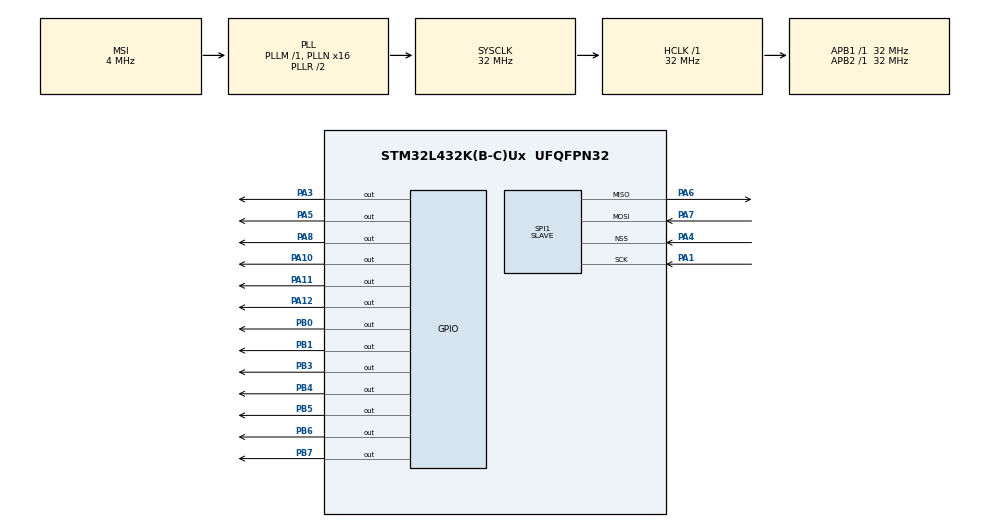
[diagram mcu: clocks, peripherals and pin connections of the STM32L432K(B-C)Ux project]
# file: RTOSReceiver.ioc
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FREERTOS.Mutexes01=spiMutex,Static,spiMutexControlBlock,Available;decryptLock,Static,decryptLockControlBlock,Available
FREERTOS.Queues01=decryptOutput,4,uint16_t,0,Static,decryptOutputBuffer,decryptOutputControlBlock;spiOutput,8,uint32_t,0,Static,spiOutputBuffer,spiOutputControlBlock
FREERTOS.Tasks01=defaultTask,24,128,StartDefaultTask,Default,NULL,Dynamic,NULL,NULL;matrixDriver,48,128,startMatrixDriver,Default,NULL,Static,matrixDriverBuffer,matrixDriverControlBlock;spiTask,24,256,startSpi,Default,NULL,Static,spiTaskBuffer,spiTaskControlBlock;decrypter,24,128,StartDecrypter,Default,NULL,Static,decrypterBuffer,decrypterControlBlock
FREERTOS.configUSE_NEWLIB_REENTRANT=1
Mcu.Family=STM32L4
Mcu.Name=STM32L432K(B-C)Ux
Mcu.Package=UFQFPN32
NVIC.PriorityGroup=NVIC_PRIORITYGROUP_4
NVIC.TIM6_DAC_IRQn=true\:15\:0\:false\:false\:true\:false\:false\:true\:true
NVIC.TimeBase=TIM6_DAC_IRQn
NVIC.TimeBaseIP=TIM6
PA0.GPIO_Label=MCO [High speed clock in]
PA0.Mode=HSE-External-Clock-Source-for-LittleOrca
PA0.Signal=RCC_CK_IN
PA1.Mode=Full_Duplex_Slave
PA1.Signal=SPI1_SCK
PA10.Signal=GPIO_Output
PA11.Signal=GPIO_Output
PA12.Signal=GPIO_Output
PA13\ (JTMS-SWDIO).GPIO_Label=SWDIO
PA13\ (JTMS-SWDIO).Mode=Serial_Wire
PA13\ (JTMS-SWDIO).Signal=SYS_JTMS-SWDIO
PA14\ (JTCK-SWCLK).GPIO_Label=SWCLK
PA14\ (JTCK-SWCLK).Mode=Serial_Wire
PA14\ (JTCK-SWCLK).Signal=SYS_JTCK-SWCLK
PA15\ (JTDI).GPIO_Label=VCP_RX
PA15\ (JTDI).Signal=USART2_RX
PA2.GPIO_Label=VCP_TX
PA2.Signal=USART2_TX
PA3.Signal=GPIO_Output
PA4.Mode=NSS_Signal_Hard_Input
PA4.Signal=SPI1_NSS
PA5.Signal=GPIO_Output
PA6.Mode=Full_Duplex_Slave
PA6.Signal=SPI1_MISO
PA7.Mode=Full_Duplex_Slave
PA7.Signal=SPI1_MOSI
PA8.Signal=GPIO_Output
PB0.Signal=GPIO_Output
PB1.Signal=GPIO_Output
PB3\ (JTDO-TRACESWO).Signal=GPIO_Output
PB4\ (NJTRST).Signal=GPIO_Output
PB5.Signal=GPIO_Output
PB6.Signal=GPIO_Output
PB7.Signal=GPIO_Output
PC14-OSC32_IN\ (PC14).Mode=LSE-External-Oscillator
PC14-OSC32_IN\ (PC14).Signal=RCC_OSC32_IN
PC15-OSC32_OUT\ (PC15).Mode=LSE-External-Oscillator
PC15-OSC32_OUT\ (PC15).Signal=RCC_OSC32_OUT
ProjectManager.HeapSize=0x200
ProjectManager.StackSize=0x400
ProjectManager.TargetToolchain=STM32CubeIDE
RCC.AHBFreq_Value=32000000
RCC.APB1Freq_Value=32000000
RCC.APB1TimFreq_Value=32000000
RCC.APB2Freq_Value=32000000
RCC.APB2TimFreq_Value=32000000
RCC.CortexFreq_Value=32000000
RCC.HCLKFreq_Value=32000000
RCC.HSE_VALUE=8000000
RCC.HSI16_VALUE=16000000
RCC.HSI48_VALUE=48000000
RCC.HSI_VALUE=16000000
RCC.MSI_VALUE=4000000
RCC.PLLMUL=RCC_PLLMUL_4
RCC.PLLN=16
RCC.SYSCLKFreq_VALUE=32000000
RCC.SYSCLKSource=RCC_SYSCLKSOURCE_PLLCLK
RCC.VCOOutputFreq_Value=64000000
SPI1.DataSize=SPI_DATASIZE_8BIT
SPI1.Direction=SPI_DIRECTION_2LINES
SPI1.Mode=SPI_MODE_SLAVE
SPI1.VirtualNSS=VM_NSSHARD
SPI1.VirtualType=VM_SLAVE
VP_FREERTOS_VS_CMSIS_V2.Mode=CMSIS_V2
VP_SYS_VS_tim6.Mode=TIM6
board=NUCLEO-L432KC

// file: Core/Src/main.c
/* USER CODE BEGIN Header */
/**
 ******************************************************************************
 * @file           : main.c
 * @brief          : Main program body
 ******************************************************************************
 * @attention
 *
 * Copyright (c) 2024 STMicroelectronics.
 * All rights reserved.
 *
 * This software is licensed under terms that can be found in the LICENSE file
 * in the root directory of this software component.
 * If no LICENSE file comes with this software, it is provided AS-IS.
 *
 ******************************************************************************
 */
/* USER CODE END Header */
#include "main.h"
#include "cmsis_os.h"

/* USER CODE BEGIN Includes */
#include "stm32l4xx_ll_spi.h"
#include "stm32l4xx_ll_gpio.h"
#include "stm32l4xx_ll_bus.h"
#include "stm32l4xx_ll_utils.h"
/* USER CODE END Includes */

typedef StaticTask_t osStaticThreadDef_t;
typedef StaticQueue_t osStaticMessageQDef_t;
typedef StaticSemaphore_t osStaticMutexDef_t;

/* Definitions for defaultTask */
osThreadId_t defaultTaskHandle;
const osThreadAttr_t defaultTask_attributes = {
  .name = "defaultTask",
  .stack_size = 128 * 4,
  .priority = (osPriority_t) osPriorityNormal,
};
/* Definitions for matrixDriver */
osThreadId_t matrixDriverHandle;
uint32_t matrixDriverBuffer[ 128 ];
osStaticThreadDef_t matrixDriverControlBlock;
const osThreadAttr_t matrixDriver_attributes = {
  .name = "matrixDriver",
  .cb_mem = &matrixDriverControlBlock,
  .cb_size = sizeof(matrixDriverControlBlock),
  .stack_mem = &matrixDriverBuffer[0],
  .stack_size = sizeof(matrixDriverBuffer),
  .priority = (osPriority_t) osPriorityRealtime,
};
/* Definitions for spiTask */
osThreadId_t spiTaskHandle;
uint32_t spiTaskBuffer[ 256 ];
osStaticThreadDef_t spiTaskControlBlock;
const osThreadAttr_t spiTask_attributes = {
  .name = "spiTask",
  .cb_mem = &spiTaskControlBlock,
  .cb_size = sizeof(spiTaskControlBlock),
  .stack_mem = &spiTaskBuffer[0],
  .stack_size = sizeof(spiTaskBuffer),
  .priority = (osPriority_t) osPriorityNormal,
};
/* Definitions for decrypter */
osThreadId_t decrypterHandle;
uint32_t decrypterBuffer[ 128 ];
osStaticThreadDef_t decrypterControlBlock;
const osThreadAttr_t decrypter_attributes = {
  .name = "decrypter",
  .cb_mem = &decrypterControlBlock,
  .cb_size = sizeof(decrypterControlBlock),
  .stack_mem = &decrypterBuffer[0],
  .stack_size = sizeof(decrypterBuffer),
  .priority = (osPriority_t) osPriorityNormal,
};
/* Definitions for decryptOutput */
osMessageQueueId_t decryptOutputHandle;
uint8_t decryptOutputBuffer[ 4 * sizeof( uint16_t ) ];
osStaticMessageQDef_t decryptOutputControlBlock;
const osMessageQueueAttr_t decryptOutput_attributes = {
  .name = "decryptOutput",
  .cb_mem = &decryptOutputControlBlock,
  .cb_size = sizeof(decryptOutputControlBlock),
  .mq_mem = &decryptOutputBuffer,
  .mq_size = sizeof(decryptOutputBuffer)
};
/* Definitions for spiOutput */
osMessageQueueId_t spiOutputHandle;
uint8_t spiOutputBuffer[ 8 * sizeof( uint32_t ) ];
osStaticMessageQDef_t spiOutputControlBlock;
const osMessageQueueAttr_t spiOutput_attributes = {
  .name = "spiOutput",
  .cb_mem = &spiOutputControlBlock,
  .cb_size = sizeof(spiOutputControlBlock),
  .mq_mem = &spiOutputBuffer,
  .mq_size = sizeof(spiOutputBuffer)
};
/* Definitions for spiMutex */
osMutexId_t spiMutexHandle;
osStaticMutexDef_t spiMutexControlBlock;
const osMutexAttr_t spiMutex_attributes = {
  .name = "spiMutex",
  .cb_mem = &spiMutexControlBlock,
  .cb_size = sizeof(spiMutexControlBlock),
};
/* Definitions for decryptLock */
osMutexId_t decryptLockHandle;
osStaticMutexDef_t decryptLockControlBlock;
const osMutexAttr_t decryptLock_attributes = {
  .name = "decryptLock",
  .cb_mem = &decryptLockControlBlock,
  .cb_size = sizeof(decryptLockControlBlock),
};

void SystemClock_Config(void);
static void MX_GPIO_Init(void);
static void MX_SPI1_Init(void);
void StartDefaultTask(void *argument);
void startMatrixDriver(void *argument);
void startSpi(void *argument);
void StartDecrypter(void *argument);

/* USER CODE BEGIN PFP */
void decrypt (uint32_t v[2], const uint32_t k[4]);
/* USER CODE END PFP */

/* USER CODE BEGIN 0 */
void decrypt (uint32_t v[2], const uint32_t k[4]) {
  /* set up; "sum" was computed from the value of delta
  in the "encrypt" function: sum = (delta << 5) & 0xFFFFFFFF */
  uint32_t v0=v[0], v1=v[1], sum=0xC6EF3720, i;
  uint32_t delta=0x9E3779B9;           /* a key schedule constant */
  uint32_t k0=k[0], k1=k[1], k2=k[2], k3=k[3];  /* cache key */
  for (i=0; i<32; i++) {             /* basic cycle start */
    v1 -= ((v0<<4) + k2) ^ (v0 + sum) ^ ((v0>>5) + k3);
    v0 -= ((v1<<4) + k0) ^ (v1 + sum) ^ ((v1>>5) + k1);
    sum -= delta;
  }                       /* end cycle */
  v[0]=v0; v[1]=v1;
}
/* USER CODE END 0 */

int main(void)
{

  /* MCU Configuration--------------------------------------------------------*/

  /* Reset of all peripherals, Initializes the Flash interface and the Systick. */
  HAL_Init();

  /* Configure the system clock */
  SystemClock_Config();

  /* Initialize all configured peripherals */
  MX_GPIO_Init();
  MX_SPI1_Init();

  /* Init scheduler */
  osKernelInitialize();
  /* Create the mutex(es) */
  /* creation of spiMutex */
  spiMutexHandle = osMutexNew(&spiMutex_attributes);

  /* creation of decryptLock */
  decryptLockHandle = osMutexNew(&decryptLock_attributes);

  /* Create the queue(s) */
  /* creation of decryptOutput */
  decryptOutputHandle = osMessageQueueNew (4, sizeof(uint16_t), &decryptOutput_attributes);

  /* creation of spiOutput */
  spiOutputHandle = osMessageQueueNew (8, sizeof(uint32_t), &spiOutput_attributes);

  /* Create the thread(s) */
  /* creation of defaultTask */
  defaultTaskHandle = osThreadNew(StartDefaultTask, NULL, &defaultTask_attributes);

  /* creation of matrixDriver */
  matrixDriverHandle = osThreadNew(startMatrixDriver, NULL, &matrixDriver_attributes);

  /* creation of spiTask */
  spiTaskHandle = osThreadNew(startSpi, NULL, &spiTask_attributes);

  /* creation of decrypter */
  decrypterHandle = osThreadNew(StartDecrypter, NULL, &decrypter_attributes);

  /* Start scheduler */
  osKernelStart();

  /* We should never get here as control is now taken by the scheduler */

  /* Infinite loop */
	while (1)
	{

	}
}

void SystemClock_Config(void)
{
  RCC_OscInitTypeDef RCC_OscInitStruct = {0};
  RCC_ClkInitTypeDef RCC_ClkInitStruct = {0};

  /** Configure the main internal regulator output voltage
  */
  if (HAL_PWREx_ControlVoltageScaling(PWR_REGULATOR_VOLTAGE_SCALE1) != HAL_OK)
  {
    Error_Handler();
  }

  /** Configure LSE Drive Capability
  */
  HAL_PWR_EnableBkUpAccess();
  __HAL_RCC_LSEDRIVE_CONFIG(RCC_LSEDRIVE_LOW);

  /** Initializes the RCC Oscillators according to the specified parameters
  * in the RCC_OscInitTypeDef structure.
  */
  RCC_OscInitStruct.OscillatorType = RCC_OSCILLATORTYPE_LSE|RCC_OSCILLATORTYPE_MSI;
  RCC_OscInitStruct.LSEState = RCC_LSE_ON;
  RCC_OscInitStruct.MSIState = RCC_MSI_ON;
  RCC_OscInitStruct.MSICalibrationValue = 0;
  RCC_OscInitStruct.MSIClockRange = RCC_MSIRANGE_6;
  RCC_OscInitStruct.PLL.PLLState = RCC_PLL_ON;
  RCC_OscInitStruct.PLL.PLLSource = RCC_PLLSOURCE_MSI;
  RCC_OscInitStruct.PLL.PLLM = 1;
  RCC_OscInitStruct.PLL.PLLN = 16;
  RCC_OscInitStruct.PLL.PLLP = RCC_PLLP_DIV7;
  RCC_OscInitStruct.PLL.PLLQ = RCC_PLLQ_DIV2;
  RCC_OscInitStruct.PLL.PLLR = RCC_PLLR_DIV2;
  if (HAL_RCC_OscConfig(&RCC_OscInitStruct) != HAL_OK)
  {
    Error_Handler();
  }

  /** Initializes the CPU, AHB and APB buses clocks
  */
  RCC_ClkInitStruct.ClockType = RCC_CLOCKTYPE_HCLK|RCC_CLOCKTYPE_SYSCLK
                              |RCC_CLOCKTYPE_PCLK1|RCC_CLOCKTYPE_PCLK2;
  RCC_ClkInitStruct.SYSCLKSource = RCC_SYSCLKSOURCE_PLLCLK;
  RCC_ClkInitStruct.AHBCLKDivider = RCC_SYSCLK_DIV1;
  RCC_ClkInitStruct.APB1CLKDivider = RCC_HCLK_DIV1;
  RCC_ClkInitStruct.APB2CLKDivider = RCC_HCLK_DIV1;

  if (HAL_RCC_ClockConfig(&RCC_ClkInitStruct, FLASH_LATENCY_1) != HAL_OK)
  {
    Error_Handler();
  }

  /** Enable MSI Auto calibration
  */
  HAL_RCCEx_EnableMSIPLLMode();
}

static void MX_SPI1_Init(void)
{

  LL_SPI_InitTypeDef SPI_InitStruct = {0};

  LL_GPIO_InitTypeDef GPIO_InitStruct = {0};

  /* Peripheral clock enable */
  LL_APB2_GRP1_EnableClock(LL_APB2_GRP1_PERIPH_SPI1);

  LL_AHB2_GRP1_EnableClock(LL_AHB2_GRP1_PERIPH_GPIOA);
  /**SPI1 GPIO Configuration
  PA1   ------> SPI1_SCK
  PA4   ------> SPI1_NSS
  PA6   ------> SPI1_MISO
  PA7   ------> SPI1_MOSI
  */
  GPIO_InitStruct.Pin = LL_GPIO_PIN_1|LL_GPIO_PIN_4|LL_GPIO_PIN_6|LL_GPIO_PIN_7;
  GPIO_InitStruct.Mode = LL_GPIO_MODE_ALTERNATE;
  GPIO_InitStruct.Speed = LL_GPIO_SPEED_FREQ_VERY_HIGH;
  GPIO_InitStruct.OutputType = LL_GPIO_OUTPUT_PUSHPULL;
  GPIO_InitStruct.Pull = LL_GPIO_PULL_NO;
  GPIO_InitStruct.Alternate = LL_GPIO_AF_5;
  LL_GPIO_Init(GPIOA, &GPIO_InitStruct);

  /* SPI1 parameter configuration*/
  SPI_InitStruct.TransferDirection = LL_SPI_FULL_DUPLEX;
  SPI_InitStruct.Mode = LL_SPI_MODE_SLAVE;
  SPI_InitStruct.DataWidth = LL_SPI_DATAWIDTH_8BIT;
  SPI_InitStruct.ClockPolarity = LL_SPI_POLARITY_LOW;
  SPI_InitStruct.ClockPhase = LL_SPI_PHASE_1EDGE;
  SPI_InitStruct.NSS = LL_SPI_NSS_HARD_INPUT;
  SPI_InitStruct.BitOrder = LL_SPI_MSB_FIRST;
  SPI_InitStruct.CRCCalculation = LL_SPI_CRCCALCULATION_DISABLE;
  SPI_InitStruct.CRCPoly = 7;
  LL_SPI_Init(SPI1, &SPI_InitStruct);
  LL_SPI_SetStandard(SPI1, LL_SPI_PROTOCOL_MOTOROLA);
  LL_SPI_DisableNSSPulseMgt(SPI1);

}

static void MX_GPIO_Init(void)
{
  LL_GPIO_InitTypeDef GPIO_InitStruct = {0};

  /* GPIO Ports Clock Enable */
  LL_AHB2_GRP1_EnableClock(LL_AHB2_GRP1_PERIPH_GPIOC);
  LL_AHB2_GRP1_EnableClock(LL_AHB2_GRP1_PERIPH_GPIOA);
  LL_AHB2_GRP1_EnableClock(LL_AHB2_GRP1_PERIPH_GPIOB);

  /**/
  LL_GPIO_ResetOutputPin(GPIOA, LL_GPIO_PIN_3|LL_GPIO_PIN_5|LL_GPIO_PIN_8|LL_GPIO_PIN_10
                          |LL_GPIO_PIN_11|LL_GPIO_PIN_12);

  /**/
  LL_GPIO_ResetOutputPin(GPIOB, LL_GPIO_PIN_0|LL_GPIO_PIN_1|LL_GPIO_PIN_3|LL_GPIO_PIN_4
                          |LL_GPIO_PIN_5|LL_GPIO_PIN_6|LL_GPIO_PIN_7);

  /**/
  GPIO_InitStruct.Pin = VCP_TX_Pin;
  GPIO_InitStruct.Mode = LL_GPIO_MODE_ALTERNATE;
  GPIO_InitStruct.Speed = LL_GPIO_SPEED_FREQ_VERY_HIGH;
  GPIO_InitStruct.OutputType = LL_GPIO_OUTPUT_PUSHPULL;
  GPIO_InitStruct.Pull = LL_GPIO_PULL_NO;
  GPIO_InitStruct.Alternate = LL_GPIO_AF_7;
  LL_GPIO_Init(VCP_TX_GPIO_Port, &GPIO_InitStruct);

  /**/
  GPIO_InitStruct.Pin = LL_GPIO_PIN_3|LL_GPIO_PIN_5|LL_GPIO_PIN_8|LL_GPIO_PIN_10
                          |LL_GPIO_PIN_11|LL_GPIO_PIN_12;
  GPIO_InitStruct.Mode = LL_GPIO_MODE_OUTPUT;
  GPIO_InitStruct.Speed = LL_GPIO_SPEED_FREQ_LOW;
  GPIO_InitStruct.OutputType = LL_GPIO_OUTPUT_PUSHPULL;
  GPIO_InitStruct.Pull = LL_GPIO_PULL_NO;
  LL_GPIO_Init(GPIOA, &GPIO_InitStruct);

  /**/
  GPIO_InitStruct.Pin = LL_GPIO_PIN_0|LL_GPIO_PIN_1|LL_GPIO_PIN_3|LL_GPIO_PIN_4
                          |LL_GPIO_PIN_5|LL_GPIO_PIN_6|LL_GPIO_PIN_7;
  GPIO_InitStruct.Mode = LL_GPIO_MODE_OUTPUT;
  GPIO_InitStruct.Speed = LL_GPIO_SPEED_FREQ_LOW;
  GPIO_InitStruct.OutputType = LL_GPIO_OUTPUT_PUSHPULL;
  GPIO_InitStruct.Pull = LL_GPIO_PULL_NO;
  LL_GPIO_Init(GPIOB, &GPIO_InitStruct);

  /**/
  GPIO_InitStruct.Pin = VCP_RX_Pin;
  GPIO_InitStruct.Mode = LL_GPIO_MODE_ALTERNATE;
  GPIO_InitStruct.Speed = LL_GPIO_SPEED_FREQ_VERY_HIGH;
  GPIO_InitStruct.OutputType = LL_GPIO_OUTPUT_PUSHPULL;
  GPIO_InitStruct.Pull = LL_GPIO_PULL_NO;
  GPIO_InitStruct.Alternate = LL_GPIO_AF_3;
  LL_GPIO_Init(VCP_RX_GPIO_Port, &GPIO_InitStruct);

}

void StartDefaultTask(void *argument)
{
	for(;;)
	{
		osDelay(1);
	}
}

void startMatrixDriver(void *argument)
{
  /* USER CODE BEGIN startMatrixDriver */
	/* Infinite loop */

	//pixel data for 0-7 for rows 0-4
	//Make your own font
	const int8_t allDigits[10][5] = {
			{0x07, 0x05, 0x05, 0x05, 0x07},
			{0x02, 0x03, 0x02, 0x02, 0x07},
			{0x07, 0x04, 0x07, 0x01, 0x07},
			{0x07, 0x04, 0x06, 0x04, 0x07},
			{0x05, 0x05, 0x07, 0x04, 0x04},
			{0x07, 0x01, 0x07, 0x04, 0x07},
			{0x07, 0x01, 0x07, 0x05, 0x07},
			{0x07, 0x04, 0x04, 0x04, 0x04},
			{0x07, 0x05, 0x07, 0x05, 0x07},
			{0x07, 0x05, 0x07, 0x04, 0x07}
	};

	struct pin{
		GPIO_TypeDef *port;
		uint8_t number;
	};

	//display pin setups
	const struct pin cathodes[5] = {
			{GPIOA, 12}, //A3
			{GPIOA, 5}, //A4
			{GPIOA, 10}, //D0
			{GPIOB, 3}, //D13
			{GPIOB, 4} //D12

	};

	const struct pin anodes[7] = {
			{GPIOB, 0}, //D3
			{GPIOB, 7}, //D4
			{GPIOB, 6}, //D5
			{GPIOB, 1}, //D6
			{GPIOA, 8}, //D9
			{GPIOA, 11}, //D10
			{GPIOB, 5} //D11
	};

	for(;;)
	{
		uint32_t sum = 0;
		//dequeue uint16_t values
		for(uint8_t value =0; value < 4; value++){
			uint16_t toWrite;
			(void*)osMessageQueueGet(decryptOutputHandle, &toWrite, NULL, pdMS_TO_TICKS(1000)); //get new data
			sum += toWrite;
		}
		//average them
		sum = (uint32_t)(sum/=4.0);

		//Convert to volts and decivolts - ignore centivolts, etc.
		uint8_t onesPlace = (sum / 1241);
		uint8_t deciPlace = (sum%1241) / 124;

		//Display digits on 6x5 pixel display
		for (uint8_t row = 0; row < 5; row++) {
			//replace PORTB = ~cathodes[row];, as the cathodes are on different ports
			//this display / setup must be somewhat different as the logic is inverted compared to last years
			//code; not sure, but the other part is inverted as well (diodes internal in the display are likely reversed
			//compared to the model used last year)
			for (uint8_t i = 0; i < 5; i++) {
				cathodes[i].port->ODR &= ~(1 << cathodes[i].number);
			}
			cathodes[row].port->ODR |= (1 << cathodes[row].number);
			//get the value of the row being written to the display for the ones and tens place.
			uint16_t sum = allDigits[onesPlace][row] + (allDigits[deciPlace][row]<<4);

			//if in the bottom row, draw the dot
//			if(row == 4){
//				sum += 0x08;
//			}

			// Set the anodes (columns) based on the row data
			for (uint8_t col = 0; col < 7; col++) {
				if (sum & (1 << col)) {
					anodes[col].port->ODR &= ~(1 << anodes[col].number);//bring the column low / turn the LED on
				} else {
					anodes[col].port->ODR |= (1 << anodes[col].number);//bring the column high / turn the LED off
				}
			}
			osDelay(3); //if there is not some delay here the screen gets angry
		}
	}

  /* USER CODE END startMatrixDriver */
}

void startSpi(void *argument)
{
  /* USER CODE BEGIN startSpi */
  /* Infinite loop */
  //Enable SPI 1
  LL_SPI_Enable(SPI1);
  for(;;)
  {
	  //Lock out "StartDecrypter" task while the spi is reading
	  (void*)osMutexAcquire(spiMutexHandle, osWaitForever);
	  uint8_t toRead[10] = {0}; //temp location for data to read
	  uint8_t rxData = 0;

	  //Checking to make sure that the CS pin has went low
	  if(!((GPIOA->IDR & (1<<12))))
	  {
		  //Ensures 10 bytes are read from the spi one at a time
		  for(int8_t i = 0; i < 10;)
		  {
			  //Wait here until CS pin goes low
			  while((GPIOA->IDR & (1<<12))) {}
			  //Reading one byte at a time from the spi
			  rxData = LL_SPI_ReceiveData8(SPI1);
			  //Wait until the spi finishes reading
			  while(!LL_SPI_IsActiveFlag_RXNE(SPI1)){}

			  //We send these values at the beginning and end of the 10 bytes sent through the spi
			  //so that we know we are getting the correct data in the middle
			  //if i is not equal to 255 at the beginning of the 10 byte reading then start over
			  if((i==0) && (rxData != 255)){
				  i=0;
				  continue;
			  }
			  //if i is not equal to 0 at the end of the 10 byte reading then start over
			  if (i == 9 && rxData != 0)
			  {
				  i=0;
				  continue;
			  }

			  toRead[i] = rxData;

			  i++;
		  }

		  //Used to pack 4 of the 8-bit values into 1 32-bit value
		  uint32_t test[2] = {0};
		  test[0] |= (toRead[1] << 24) | (toRead[2] << 16) | (toRead[3] << 8) | toRead[4];
		  test[1] |= (toRead[5] << 24) | (toRead[6] << 16) | (toRead[7] << 8) | toRead[8];
		  spiTaskBuffer[0] = test[0];
		  spiTaskBuffer[1] = test[1];
	  }

	  //Unblock "StartDecrypter" after spi finishes reading
	  (void*)osMutexRelease(spiMutexHandle);
	  osDelay(2);
  }
  /* USER CODE END startSpi */
}

void StartDecrypter(void *argument)
{
  /* USER CODE BEGIN StartDecrypter */
	//Used to store the data in the spi buffer
	uint32_t unPackage[2];
	    uint32_t byteCapture = 0x0000ffff;
	    //buffer for the decryption algorithm
		uint16_t values[4] = {0,0,0,0}; //values from the adc queue
		const uint32_t k[4] = {371, 215, 11, 12}; //key
  /* Infinite loop */
  for(;;)
  {
	  //Blocks the spi task from writing to the spi buffer
	  (void*)osMutexAcquire(spiMutexHandle, osWaitForever);

	  	unPackage[0] = spiTaskBuffer[0];
	  	unPackage[1] = spiTaskBuffer[1];

		  //Unblocks the spi task from writing to the spi buffer
	  	(void*)osMutexRelease(spiMutexHandle);
	      //Decrypting
	  	//Placed the unPackage buffer and cast the values to uint32_t for the decryption algorithm
	  	uint32_t toDecrypt[2] = {(uint32_t)unPackage[0], (uint32_t)unPackage[1]};
	  	decrypt(toDecrypt, k);

	  	//unpacking into 4 x 16-bit values
	  	values[0] = ((toDecrypt[0] >> 16) & byteCapture);
	  	values[1] = ((toDecrypt[0]) & byteCapture);
	  	values[2] = ((toDecrypt[1] >> 16) & byteCapture);
	  	values[3] = ((toDecrypt[1]) & byteCapture);

	  	for(uint8_t i = 0; i < 4; i++)
	  	{
	  		//Packing the data stored into the values buffer in the decryption buffer queue
	  		(void*)osMessageQueuePut(decryptOutputHandle, &values[i], 0, pdMS_TO_TICKS(1000));
	  	}

  }
  /* USER CODE END StartDecrypter */
}

void HAL_TIM_PeriodElapsedCallback(TIM_HandleTypeDef *htim)
{
  if (htim->Instance == TIM6) {
    HAL_IncTick();
  }
}

void Error_Handler(void)
{
	__disable_irq();
	while (1)
	{
	}
}

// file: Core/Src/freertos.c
/* USER CODE BEGIN Header */
/**
  ******************************************************************************
  * File Name          : freertos.c
  * Description        : Code for freertos applications
  ******************************************************************************
  * @attention
  *
  * Copyright (c) 2024 STMicroelectronics.
  * All rights reserved.
  *
  * This software is licensed under terms that can be found in the LICENSE file
  * in the root directory of this software component.
  * If no LICENSE file comes with this software, it is provided AS-IS.
  *
  ******************************************************************************
  */
/* USER CODE END Header */

#include "FreeRTOS.h"
#include "task.h"
#include "main.h"

/**
  * Initializes the Global MSP.
  */
void HAL_MspInit(void)
{

  __HAL_RCC_SYSCFG_CLK_ENABLE();
  __HAL_RCC_PWR_CLK_ENABLE();

  /* System interrupt init*/
  /* PendSV_IRQn interrupt configuration */
  HAL_NVIC_SetPriority(PendSV_IRQn, 15, 0);

}

/**
* @brief SPI MSP Initialization
* This function configures the hardware resources used in this example
* @param hspi: SPI handle pointer
* @retval None
*/
void HAL_SPI_MspInit(SPI_HandleTypeDef* hspi)
{
  GPIO_InitTypeDef GPIO_InitStruct = {0};
  if(hspi->Instance==SPI1)
  {
    /* Peripheral clock enable */
    __HAL_RCC_SPI1_CLK_ENABLE();

    __HAL_RCC_GPIOA_CLK_ENABLE();
    /**SPI1 GPIO Configuration
    PA1     ------> SPI1_SCK
    PA6     ------> SPI1_MISO
    PA7     ------> SPI1_MOSI
    */
    GPIO_InitStruct.Pin = GPIO_PIN_1|GPIO_PIN_6|GPIO_PIN_7;
    GPIO_InitStruct.Mode = GPIO_MODE_AF_PP;
    GPIO_InitStruct.Pull = GPIO_NOPULL;
    GPIO_InitStruct.Speed = GPIO_SPEED_FREQ_VERY_HIGH;
    GPIO_InitStruct.Alternate = GPIO_AF5_SPI1;
    HAL_GPIO_Init(GPIOA, &GPIO_InitStruct);

  }

}

/**
* @brief SPI MSP De-Initialization
* This function freeze the hardware resources used in this example
* @param hspi: SPI handle pointer
* @retval None
*/
void HAL_SPI_MspDeInit(SPI_HandleTypeDef* hspi)
{
  if(hspi->Instance==SPI1)
  {
    /* Peripheral clock disable */
    __HAL_RCC_SPI1_CLK_DISABLE();

    /**SPI1 GPIO Configuration
    PA1     ------> SPI1_SCK
    PA6     ------> SPI1_MISO
    PA7     ------> SPI1_MOSI
    */
    HAL_GPIO_DeInit(GPIOA, GPIO_PIN_1|GPIO_PIN_6|GPIO_PIN_7);

  }

}
